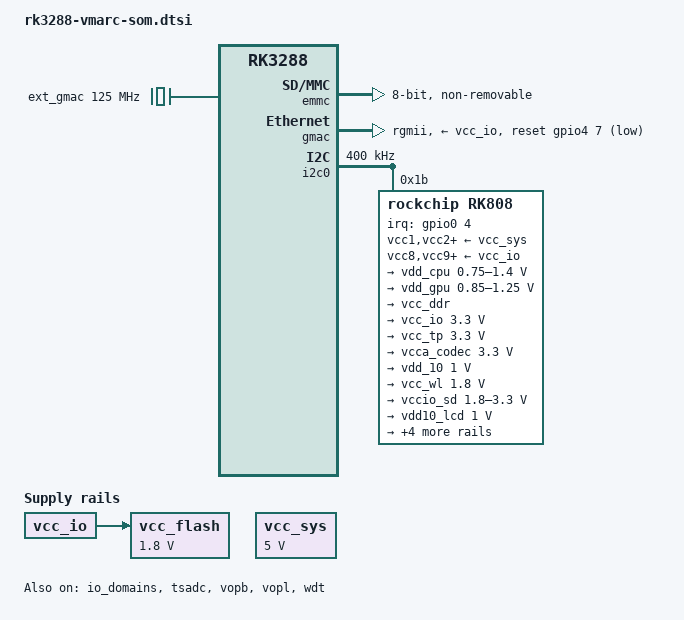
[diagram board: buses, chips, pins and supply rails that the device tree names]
/*
 * Copyright (c) 2015~2017 Fuzhou Rockchip Electronics Co., Ltd
 *
 * This file is dual-licensed: you can use it either under the terms
 * of the GPL or the X11 license, at your option. Note that this dual
 * licensing only applies to this file, and not this project as a
 * whole.
 *
 *  a) This file is free software; you can redistribute it and/or
 *     modify it under the terms of the GNU General Public License as
 *     published by the Free Software Foundation; either version 2 of the
 *     License, or (at your option) any later version.
 *
 *     This file is distributed in the hope that it will be useful,
 *     but WITHOUT ANY WARRANTY; without even the implied warranty of
 *     MERCHANTABILITY or FITNESS FOR A PARTICULAR PURPOSE.  See the
 *     GNU General Public License for more details.
 *
 * Or, alternatively,
 *
 *  b) Permission is hereby granted, free of charge, to any person
 *     obtaining a copy of this software and associated documentation
 *     files (the "Software"), to deal in the Software without
 *     restriction, including without limitation the rights to use,
 *     copy, modify, merge, publish, distribute, sublicense, and/or
 *     sell copies of the Software, and to permit persons to whom the
 *     Software is furnished to do so, subject to the following
 *     conditions:
 *
 *     The above copyright notice and this permission notice shall be
 *     included in all copies or substantial portions of the Software.
 *
 *     THE SOFTWARE IS PROVIDED "AS IS", WITHOUT WARRANTY OF ANY KIND,
 *     EXPRESS OR IMPLIED, INCLUDING BUT NOT LIMITED TO THE WARRANTIES
 *     OF MERCHANTABILITY, FITNESS FOR A PARTICULAR PURPOSE AND
 *     NONINFRINGEMENT. IN NO EVENT SHALL THE AUTHORS OR COPYRIGHT
 *     HOLDERS BE LIABLE FOR ANY CLAIM, DAMAGES OR OTHER LIABILITY,
 *     WHETHER IN AN ACTION OF CONTRACT, TORT OR OTHERWISE, ARISING
 *     FROM, OUT OF OR IN CONNECTION WITH THE SOFTWARE OR THE USE OR
 *     OTHER DEALINGS IN THE SOFTWARE.
 */
#include <dt-bindings/pwm/pwm.h>
#include <dt-bindings/input/input.h>
#include "rk3288.dtsi"

/ {
	ext_gmac: external-gmac-clock {
		compatible = "fixed-clock";
		clock-frequency = <125000000>;
		clock-output-names = "ext_gmac";
		#clock-cells = <0>;
	};

	vcc_flash: flash-regulator {
		compatible = "regulator-fixed";
		regulator-name = "vcc_sys";
		regulator-min-microvolt = <1800000>;
		regulator-max-microvolt = <1800000>;
		startup-delay-us = <150>;
		vin-supply = <&vcc_io>;
	};

	vcc_sys: vsys-regulator {
		compatible = "regulator-fixed";
		regulator-name = "vcc_sys";
		regulator-min-microvolt = <5000000>;
		regulator-max-microvolt = <5000000>;
		regulator-always-on;
		regulator-boot-on;
	};
};

&io_domains {
	status = "okay";

	flash0-supply = <&vcc_18>;
	sdcard-supply = <&vccio_sd>;
	wifi-supply = <&vcc_18>;
};

&cpu0 {
	cpu0-supply = <&vdd_cpu>;
};

&emmc {
	bus-width = <8>;
	cap-mmc-highspeed;
	disable-wp;
	non-removable;
	num-slots = <1>;
	pinctrl-names = "default";
	pinctrl-0 = <&emmc_clk &emmc_cmd &emmc_pwr &emmc_bus8>;
	max-frequency = <100000000>;
	mmc-hs200-1_8v;
	mmc-ddr-1_8v;
	status = "okay";
};

&gmac {
	phy-supply = <&vcc_io>;//vcc_phy>;
	phy-mode = "rgmii";
	clock_in_out = "input";
	snps,reset-gpio = <&gpio4 7 0>;
	snps,reset-active-low;
	snps,reset-delays-us = <0 10000 50000>;
	assigned-clocks = <&cru SCLK_MAC>;
	assigned-clock-parents = <&ext_gmac>;
	pinctrl-names = "default";
	pinctrl-0 = <&rgmii_pins>;
	tx_delay = <0x30>;
	rx_delay = <0x10>;
	max-speed = <1000>;
	status = "okay";
};

&i2c0 {
	status = "okay";
	clock-frequency = <400000>;

	rk808: pmic@1b {
		compatible = "rockchip,rk808";
		reg = <0x1b>;
		interrupt-parent = <&gpio0>;
		interrupts = <4 IRQ_TYPE_LEVEL_LOW>;
		pinctrl-names = "default";
		pinctrl-0 = <&pmic_int &global_pwroff>;
		rockchip,system-power-controller;
		wakeup-source;
		#clock-cells = <1>;
		clock-output-names = "rk808-clkout1", "rk808-clkout2";

		vcc1-supply = <&vcc_sys>;
		vcc2-supply = <&vcc_sys>;
		vcc3-supply = <&vcc_sys>;
		vcc4-supply = <&vcc_sys>;
		vcc6-supply = <&vcc_sys>;
		vcc8-supply = <&vcc_io>;
		vcc9-supply = <&vcc_io>;
		vcc12-supply = <&vcc_io>;
		vddio-supply = <&vcc_io>;

		pwrkey {
			status = "okay";
		};

		regulators {
			vdd_cpu: DCDC_REG1 {
				regulator-always-on;
				regulator-boot-on;
				regulator-min-microvolt = <750000>;
				regulator-max-microvolt = <1400000>;
				regulator-name = "vdd_arm";
				regulator-state-mem {
					regulator-off-in-suspend;
				};
			};

			vdd_gpu: DCDC_REG2 {
				regulator-always-on;
				regulator-boot-on;
				regulator-min-microvolt = <850000>;
				regulator-max-microvolt = <1250000>;
				regulator-name = "vdd_gpu";
				regulator-ramp-delay = <6000>;
				regulator-state-mem {
					regulator-off-in-suspend;
				};
			};

			vcc_ddr: DCDC_REG3 {
				regulator-always-on;
				regulator-boot-on;
				regulator-name = "vcc_ddr";
				regulator-state-mem {
					regulator-on-in-suspend;
				};
			};

			vcc_io: DCDC_REG4 {
				regulator-always-on;
				regulator-boot-on;
				regulator-min-microvolt = <3300000>;
				regulator-max-microvolt = <3300000>;
				regulator-name = "vcc_io";
				regulator-state-mem {
					regulator-on-in-suspend;
					regulator-suspend-microvolt = <3300000>;
				};
			};

			vcc_tp: LDO_REG1 {
				regulator-always-on;
				regulator-boot-on;
				regulator-min-microvolt = <3300000>;
				regulator-max-microvolt = <3300000>;
				regulator-name = "vcc_tp";
				regulator-state-mem {
					regulator-off-in-suspend;
				};
			};

			vcca_codec: LDO_REG2 {
				regulator-always-on;
				regulator-boot-on;
				regulator-min-microvolt = <3300000>;
				regulator-max-microvolt = <3300000>;
				regulator-name = "vcca_codec";
				regulator-state-mem {
					regulator-on-in-suspend;
					regulator-suspend-microvolt = <3300000>;
				};
			};

			vdd_10: LDO_REG3 {
				regulator-always-on;
				regulator-boot-on;
				regulator-min-microvolt = <1000000>;
				regulator-max-microvolt = <1000000>;
				regulator-name = "vdd_10";
				regulator-state-mem {
					regulator-on-in-suspend;
					regulator-suspend-microvolt = <1000000>;
				};
			};

			vcc_wl: LDO_REG4 {
				regulator-always-on;
				regulator-boot-on;
				regulator-min-microvolt = <1800000>;
				regulator-max-microvolt = <1800000>;
				regulator-name = "vcc_wl";
				regulator-state-mem {
					regulator-on-in-suspend;
				};
			};

			vccio_sd: LDO_REG5 {
				regulator-always-on;
				regulator-boot-on;
				regulator-min-microvolt = <1800000>;
				regulator-max-microvolt = <3300000>;
				regulator-name = "vccio_sd";
				regulator-state-mem {
					regulator-off-in-suspend;
				};
			};

			vdd10_lcd: LDO_REG6 {
				regulator-always-on;
				regulator-boot-on;
				regulator-min-microvolt = <1000000>;
				regulator-max-microvolt = <1000000>;
				regulator-name = "vdd10_lcd";
				regulator-state-mem {
					regulator-off-in-suspend;
				};
			};

			vcc_18: LDO_REG7 {
				regulator-always-on;
				regulator-boot-on;
				regulator-min-microvolt = <1800000>;
				regulator-max-microvolt = <1800000>;
				regulator-name = "vcc_18";
				regulator-state-mem {
					regulator-on-in-suspend;
					regulator-suspend-microvolt = <1800000>;
				};
			};

			vcc18_lcd: LDO_REG8 {
				regulator-always-on;
				regulator-boot-on;
				regulator-min-microvolt = <1800000>;
				regulator-max-microvolt = <1800000>;
				regulator-name = "vcc18_lcd";
				regulator-state-mem {
					regulator-off-in-suspend;
				};
			};

			vcc_sd: SWITCH_REG1 {
				regulator-always-on;
				regulator-boot-on;
				regulator-name = "vcc_sd";
				regulator-state-mem {
					regulator-off-in-suspend;
				};
			};

			vcc_lcd: SWITCH_REG2 {
				regulator-always-on;
				regulator-boot-on;
				regulator-name = "vcc_lcd";
				regulator-state-mem {
					regulator-off-in-suspend;
				};
			};
		};
	};
};

&pinctrl {
	pcfg_pull_none_drv_8ma: pcfg-pull-none-drv-8ma {
		drive-strength = <8>;
	};

	pcfg_pull_up_drv_8ma: pcfg-pull-up-drv-8ma {
		bias-pull-up;
		drive-strength = <8>;
	};

	pcfg_output_high: pcfg-output-high {
		output-high;				  
	};

	pmic {
		pmic_int: pmic-int {
			rockchip,pins = <RK_GPIO0 4 RK_FUNC_GPIO &pcfg_pull_up>;
		};
	};
	
	gmac {
		phy_rst: phy-rst {
			rockchip,pins = <4 8 RK_FUNC_GPIO  &pcfg_output_high>;
		};
	};
};

&tsadc {
	rockchip,hw-tshut-polarity = <0>; /* tshut polarity 0:LOW 1:HIGH */
	status = "okay";
};

&vopb {
	status = "okay";
};

&vopb_mmu {
	status = "okay";
};

&vopl {
	status = "okay";
};

&vopl_mmu {
	status = "okay";
};

&wdt {
	status = "okay";
};
